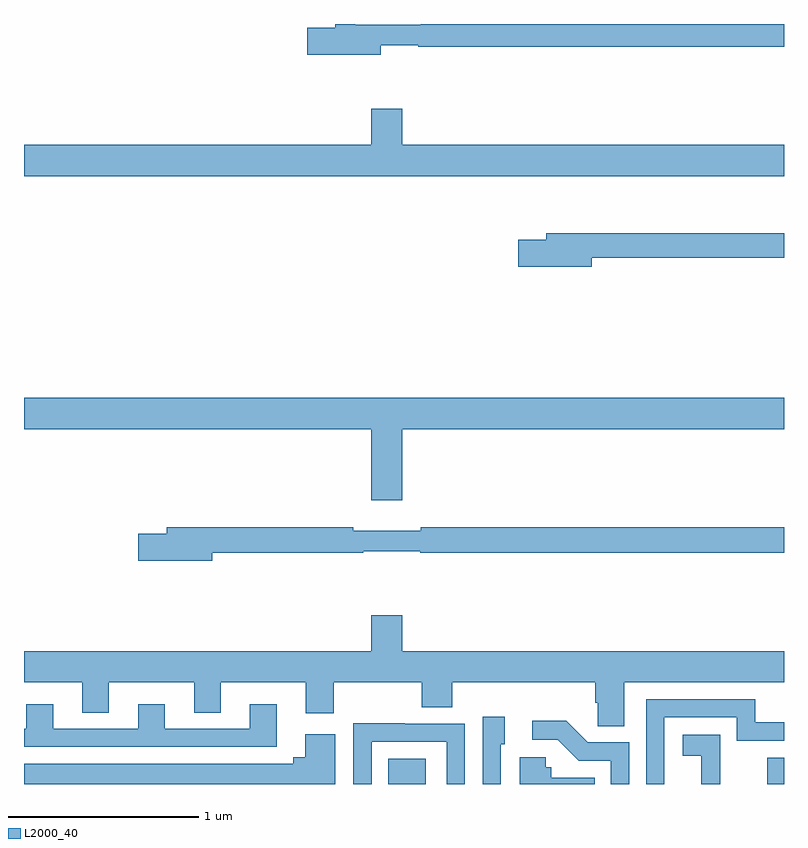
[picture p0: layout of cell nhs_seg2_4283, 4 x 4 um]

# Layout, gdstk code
import gdstk
lib = gdstk.Library(unit=1e-6, precision=1e-09)
def R(c, l, rs):  # rectangles x0, y0, x1, y1
    for r in rs: c.add(gdstk.rectangle(r[:2], r[2:], *l))
def P(c, l, *ps):  # polygons
    for p in ps: c.add(gdstk.Polygon(p, *l))
L2000_40 = (2000, 40)

nhs_seg2_4283 = lib.new_cell('nhs_seg2_4283')
R(nhs_seg2_4283, L2000_40, [(344.918,613.8,345.115,613.933), (346.912,613.8,347,613.938)])
P(nhs_seg2_4283, L2000_40, [(344.878,617.688),(345.074,617.688),(345.074,617.68),(347,617.68),(347,617.8),(345.088,617.8),(345.088,617.797),(344.743,617.797),(344.743,617.8),(344.639,617.8),(344.639,617.78),(344.49,617.78),(344.49,617.638),(344.878,617.638)],
  [(347,617.164),(344.992,617.164),(344.992,617.353),(344.828,617.353),(344.828,617.164),(343,617.164),(343,617),(347,617)],
  [(345.988,616.57),(347,616.57),(347,616.699),(345.749,616.699),(345.749,616.665),(345.6,616.665),(345.6,616.523),(345.988,616.523)],
  [(344.992,615.668),(347,615.668),(347,615.832),(343,615.832),(343,615.668),(344.828,615.668),(344.828,615.294),(344.992,615.294)],
  [(343.99,615.016),(344.786,615.016),(344.786,615.024),(345.086,615.024),(345.086,615.016),(347,615.016),(347,615.152),(345.088,615.152),(345.088,615.133),(344.732,615.133),(344.732,615.152),(343.751,615.152),(343.751,615.116),(343.602,615.116),(343.602,614.974),(343.99,614.974)],
  [(346.159,614.336),(347,614.336),(347,614.5),(344.992,614.5),(344.992,614.689),(344.828,614.689),(344.828,614.5),(343,614.5),(343,614.336),(343.307,614.336),(343.307,614.176),(343.447,614.176),(343.447,614.336),(343.895,614.336),(343.895,614.176),(344.035,614.176),(344.035,614.336),(344.483,614.336),(344.483,614.172),(344.631,614.172),(344.631,614.336),(345.094,614.336),(345.094,614.203),(345.254,614.203),(345.254,614.336),(346.007,614.336),(346.007,614.227),(346.02,614.227),(346.02,614.104),(346.159,614.104)],
  [(346.371,614.151),(346.752,614.151),(346.752,614.028),(347,614.028),(347,614.124),(346.849,614.124),(346.849,614.247),(346.275,614.247),(346.275,613.8),(346.371,613.8)],
  [(344.329,614.221),(344.189,614.221),(344.189,614.091),(343.741,614.091),(343.741,614.221),(343.601,614.221),(343.601,614.091),(343.153,614.091),(343.153,614.221),(343.013,614.221),(343.013,614.091),(343,614.091),(343,613.995),(344.329,613.995)],
  [(345.51,614.01),(345.529,614.01),(345.529,614.155),(345.414,614.155),(345.414,613.8),(345.51,613.8)],
  [(346.185,614.019),(345.966,614.019),(345.853,614.132),(345.675,614.132),(345.675,614.034),(345.809,614.034),(345.92,613.923),(346.089,613.923),(346.089,613.8),(346.185,613.8)],
  [(344.829,614.022),(345.225,614.022),(345.225,613.8),(345.321,613.8),(345.321,614.118),(345.005,614.118),(345.005,614.12),(344.733,614.12),(344.733,613.8),(344.829,613.8)],
  [(344.638,614.062),(344.48,614.062),(344.48,613.942),(344.417,613.942),(344.417,613.906),(343,613.906),(343,613.8),(344.638,613.8)],
  [(346.664,613.853),(346.665,613.853),(346.665,614.059),(346.467,614.059),(346.467,613.949),(346.565,613.949),(346.565,613.8),(346.664,613.8)],
  [(346.004,613.834),(345.774,613.834),(345.774,613.887),(345.747,613.887),(345.747,613.942),(345.608,613.942),(345.608,613.8),(346.004,613.8)])

lib.write_gds('nhs_seg2_4283.gds')
